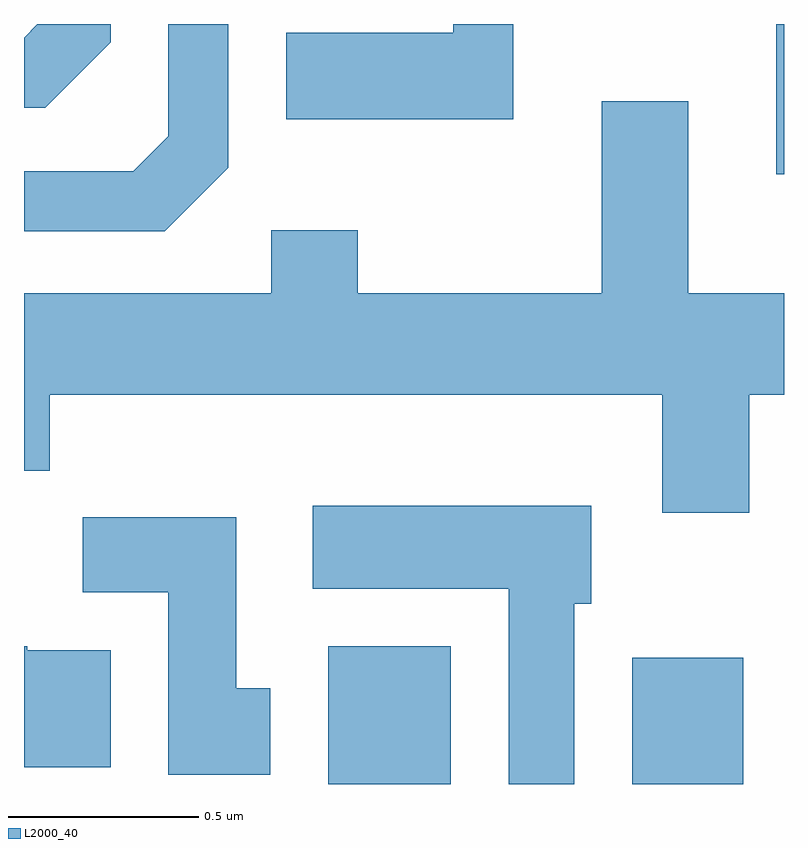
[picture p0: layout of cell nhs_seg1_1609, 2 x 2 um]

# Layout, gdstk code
import gdstk
lib = gdstk.Library(unit=1e-6, precision=1e-09)
def R(c, l, rs):  # rectangles x0, y0, x1, y1
    for r in rs: c.add(gdstk.rectangle(r[:2], r[2:], *l))
def P(c, l, *ps):  # polygons
    for p in ps: c.add(gdstk.Polygon(p, *l))
L2000_40 = (2000, 40)

nhs_seg1_1609 = lib.new_cell('nhs_seg1_1609')
R(nhs_seg1_1609, L2000_40, [(197.411,960.712,197.734,961.074), (198.211,960.712,198.504,961.044), (198.591,962.316,198.611,962.712)])
P(nhs_seg1_1609, L2000_40, [(197.149,962.334),(197.149,962.712),(196.991,962.712),(196.991,962.417),(196.899,962.324),(196.611,962.324),(196.611,962.166),(196.982,962.166)],
  [(196.839,962.664),(196.839,962.712),(196.646,962.712),(196.611,962.676),(196.611,962.491),(196.667,962.491)],
  [(197.899,962.712),(197.741,962.712),(197.741,962.689),(197.301,962.689),(197.301,962.461),(197.899,962.461)],
  [(198.519,961.736),(198.611,961.736),(198.611,962.004),(198.359,962.004),(198.359,962.509),(198.131,962.509),(198.131,962.004),(197.489,962.004),(197.489,962.169),(197.261,962.169),(197.261,962.004),(196.611,962.004),(196.611,961.536),(196.679,961.536),(196.679,961.736),(198.291,961.736),(198.291,961.426),(198.519,961.426)],
  [(198.059,961.186),(198.104,961.186),(198.104,961.444),(197.371,961.444),(197.371,961.226),(197.886,961.226),(197.886,960.712),(198.059,960.712)],
  [(197.259,960.964),(197.169,960.964),(197.169,961.414),(196.766,961.414),(196.766,961.216),(196.991,961.216),(196.991,960.736),(197.259,960.736)],
  [(196.839,961.064),(196.62,961.064),(196.62,961.074),(196.611,961.074),(196.611,960.756),(196.839,960.756)])

lib.write_gds('nhs_seg1_1609.gds')
